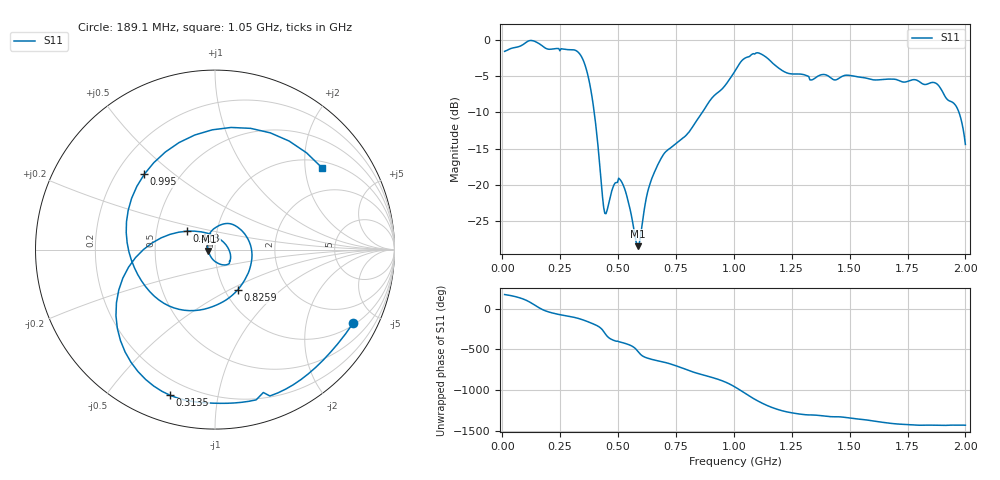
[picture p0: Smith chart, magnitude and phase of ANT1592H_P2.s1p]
!Created with skrf (http://scikit-rf.org).
# Hz S RI R 50.0
!freq ReS11 ImS11
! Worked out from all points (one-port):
!   401 points, 10 MHz to 2 GHz, reference 50 ohm
!   lowest |S11| = -28.5 dB at 587.1 MHz (marker M1), VSWR 1.08, Z = 46.4 - j0.655 ohm
!   |S11| at or under -10 dB: 397 MHz to 864.2 MHz (467.2 MHz wide, 74.1 % of centre); 1.972 GHz to end of sweep
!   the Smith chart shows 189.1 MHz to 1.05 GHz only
!   S11 on the Smith chart (normalised r, x): 189.1 MHz: 1.09, -3.73; 313.5 MHz: 0.13, -0.73; 413 MHz: 0.71, +0.15; 825.9 MHz: 1.15, -0.55; 995 MHz: 0.32, +0.40; 1.05 GHz: 1.18, +2.46
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1e7  -0.831 0.0587
7.4675e7  -0.6478 0.627
1.1945e8  0.1439 0.9787
1.54275e8  0.8891 0.3377
1.891e8  0.7708 -0.4078
2.5875e8  0.1862 -0.8457
3.13475e8  -0.2501 -0.8119
3.63225e8  -0.5491 -0.2961
4.12975e8  -0.1572 0.1026
4.42825e8  0.0316 0.0551
5.075e8  0.0726 -0.0816
5.871e8  -0.0371 -0.00705
6.51775e8  -0.0056 0.1168
7.5625e8  0.1918 0.0414
8.259e8  0.1269 -0.2236
9.20425e8  -0.312 -0.281
9.9505e8  -0.394 0.4198
1.005e9  -0.2764 0.5439
1.029875e9  0.199 0.6755
1.049775e9  0.5959 0.4561
1.0846e9  0.7273 -0.3407
1.1244e9  0.0611 -0.7854
1.17415e9  -0.5538 -0.3879
1.25375e9  -0.5357 0.2265
1.5025e9  -0.0417 0.5664
1.75125e9  0.5039 0.1187
1.8806e9  0.4897 0.0356
2e9  0.1887 0.0212
